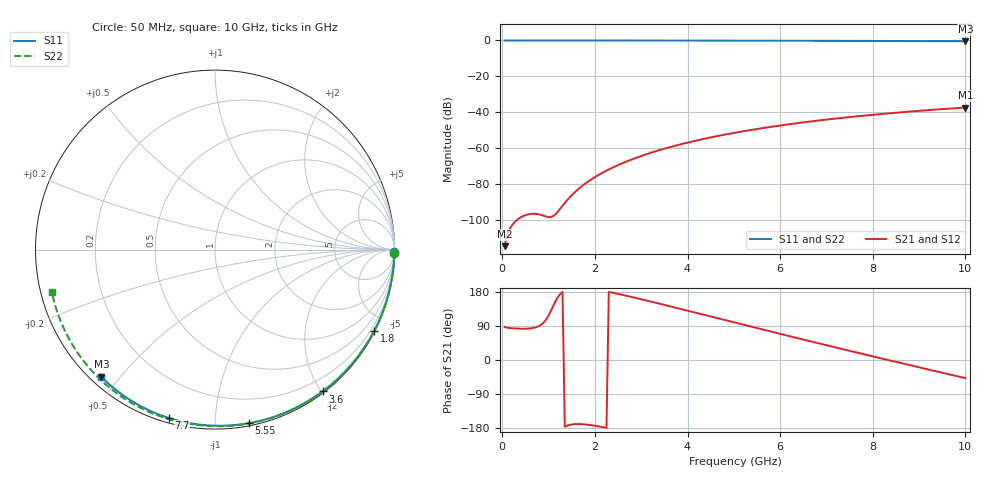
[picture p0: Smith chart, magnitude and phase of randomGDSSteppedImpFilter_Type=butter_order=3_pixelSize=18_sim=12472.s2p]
! freq	dB(S11)	phase(S11)	dB(S12)	phase(S12)
!  dB(S21)	phase(S21)	dB(S22)	phase(S22)
!S-par simulation data
#  GHz  S  DB  R 50
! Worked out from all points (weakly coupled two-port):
!   200 points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, 50 MHz to 10 GHz, reference 50 ohm
!   highest |S21| = -37.36 dB at 10 GHz (marker M1); lowest = -114.6 dB at 50 MHz (marker M2)
!   lowest |S11| = -0.4 dB at 10 GHz (marker M3), VSWR 39.25, Z = 1.53 - j22.4 ohm
!   |S11| at or under -10 dB: nowhere
!   |S22| runs from -0.6 to 0.0 dB; largest |S21 - S12| = 0
!   S11 on the Smith chart (normalised r, x): 50 MHz: open; 1.8 GHz: 0.04, -4.16; 3.6 GHz: 0.02, -2.01; 5.55 GHz: 0.02, -1.22; 7.7 GHz: 0.02, -0.76; 10 GHz: 0.03, -0.45
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0.05  -0.00 -0.8  -114.57 87.3  -114.57 87.3  -0.00 -1.0
0.45  -0.01 -6.9  -97.78 82.4  -97.78 82.4  -0.01 -8.6
0.85  -0.02 -12.9  -97.25 94.3  -97.25 94.3  -0.02 -16.2
1.3  -0.02 -19.6  -92.03 179.7  -92.03 179.7  -0.03 -24.6
1.75  -0.03 -26.3  -80.51 -169.6  -80.51 -169.6  -0.04 -33.0
1.8  -0.03 -27.0  -79.55 -170.2  -79.55 -170.2  -0.04 -33.9
1.95  -0.04 -29.2  -76.92 -172.5  -76.92 -172.5  -0.05 -36.7
2.1  -0.04 -31.4  -74.58 -175.5  -74.58 -175.5  -0.05 -39.4
2.3  -0.04 -34.3  -71.84 179.7  -71.84 179.7  -0.05 -43.0
2.5  -0.05 -37.2  -69.41 174.5  -69.41 174.5  -0.06 -46.6
2.9  -0.06 -43.0  -65.26 163.3  -65.26 163.3  -0.07 -53.7
3.4  -0.07 -50.0  -61.02 148.4  -61.02 148.4  -0.08 -62.5
3.6  -0.07 -52.8  -59.55 142.4  -59.55 142.4  -0.09 -65.9
4.3  -0.09 -62.4  -55.10 121.0  -55.10 121.0  -0.11 -77.7
5.05  -0.11 -72.4  -51.26 98.0  -51.26 98.0  -0.14 -89.9
5.55  -0.13 -78.9  -49.10 82.7  -49.10 82.7  -0.16 -97.9
6.1  -0.15 -85.9  -47.00 66.0  -47.00 66.0  -0.19 -106.5
6.7  -0.18 -93.3  -44.99 48.0  -44.99 48.0  -0.23 -115.6
7.7  -0.24 -105.3  -42.15 18.3  -42.15 18.3  -0.30 -130.7
8.35  -0.29 -112.9  -40.58 -0.6  -40.58 -0.6  -0.36 -140.4
9.2  -0.36 -122.7  -38.79 -25.1  -38.79 -25.1  -0.45 -153.1
10  -0.44 -131.8  -37.36 -47.9  -37.36 -47.9  -0.55 -165.4
